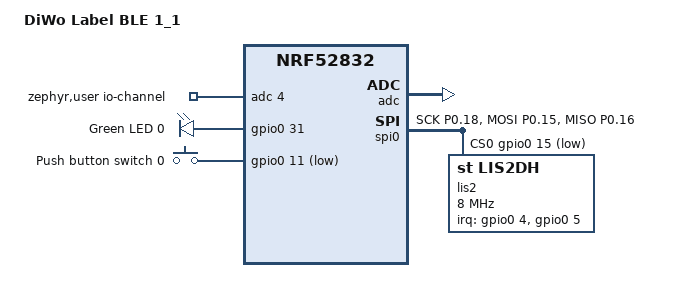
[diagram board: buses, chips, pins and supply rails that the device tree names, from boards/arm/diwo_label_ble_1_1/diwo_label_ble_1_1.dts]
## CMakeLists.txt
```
# SPDX-License-Identifier: Apache-2.0

cmake_minimum_required(VERSION 3.20.0)
find_package(Zephyr REQUIRED HINTS $ENV{ZEPHYR_BASE})
project(periodic_adv)

target_sources(app PRIVATE src/main.c src/button.c src/button.h src/led.c src/led.h src/diwo_label.h src/bsp.c src/bsp.h src/battery.c src/battery.h src/wdt.h src/wdt.c src/main.h src/nfc.c src/nfc.h src/acc_lis2_de.c src/power.c src/setting.c)
zephyr_include_directories("B:\\Projects\\nRF52\\v2.3.0\\zephyr\\drivers\\sensor\\lis2dh")
zephyr_compile_definitions()
set_source_files_properties(src/peripheral.c src/service.c PROPERTIES HEADER_FILE_ONLY TRUE)
```

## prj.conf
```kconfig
CONFIG_BT=y
CONFIG_BT_EXT_ADV=y
CONFIG_BT_PER_ADV=y
#CONFIG_BT_DEBUG_LOG=y
CONFIG_BT_DEVICE_NAME="DiWo Label"

CONFIG_BT_DIS=y
CONFIG_BT_DIS_MANUF="DiWo"
CONFIG_BT_DIS_SETTINGS=y
CONFIG_BT_DIS_MODEL="DiWo NFC LABEL"
CONFIG_BT_DIS_HW_REV=y
CONFIG_BT_DIS_HW_REV_STR="DiWo NFC Label 0.1"
CONFIG_BT_GATT_POOL=y
CONFIG_BT_GATT_UUID128_POOL_SIZE=8

CONFIG_BT_PERIPHERAL=y
CONFIG_BT_SMP=y
CONFIG_BT_GATT_CLIENT=y
CONFIG_BT_GATT_DM=y
CONFIG_BT_GATT_DYNAMIC_DB=y

CONFIG_BT_PRIVACY=n

#CONFIG_KERNEL_BIN_NAME="diwo_label_nfc_1_0"

CONFIG_NO_OPTIMIZATIONS=y

CONFIG_PINCTRL=y
CONFIG_GPIO=y
CONFIG_NRFX_GPIOTE=y
CONFIG_NRFX_PPI=y
CONFIG_GPIO_NRFX=y

CONFIG_SENSOR=y
CONFIG_SPI=y
# CONFIG_LIS2DW12 is not set
# CONFIG_LIS2DW12_THRESHOLD=y
# CONFIG_LIS2DW12_TRIGGER_GLOBAL_THREAD=y
# CONFIG_LIS2DH_TRIGGER_NONE is not set
CONFIG_LIS2DH_TRIGGER_GLOBAL_THREAD=y
# CONFIG_LIS2DW12_THRESHOLD=y

CONFIG_TEMP_NRF5=y
CONFIG_ADC=y

CONFIG_USE_SEGGER_RTT=y
CONFIG_CONSOLE=y
CONFIG_RTT_CONSOLE=y
CONFIG_LOG=y
CONFIG_LOG_MAX_LEVEL=4

CONFIG_BOOT_BANNER=n

#COFIG_WDT_LOG_LEVEL_DBG=n
CONFIG_WATCHDOG=y
CONFIG_WDT_DISABLE_AT_BOOT=n

CONFIG_NFC_T2T_NRFXLIB=y

CONFIG_NFC_NDEF=y
CONFIG_NFC_NDEF_MSG=y
CONFIG_NFC_NDEF_RECORD=y
CONFIG_NFC_NDEF_TEXT_RECORD=y

#CONFIG_PM=y
#CONFIG_PM_DEVICE=y
#CONFIG_APP_RETENTION=y
#CONFIG_CRC=y
#CONFIG_POWEROFF=y

CONFIG_PM=y
# Required to disable default behavior of deep sleep on timeout
#CONFIG_PM_DEVICE=y
# Optional select RAM retention (nRF52 only)
#CONFIG_APP_RETENTION=y
CONFIG_CRC=y

CONFIG_BT_CTLR_TX_PWR_DYNAMIC_CONTROL=y
```

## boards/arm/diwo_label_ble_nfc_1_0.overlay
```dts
/* SPDX-License-Identifier: LicenseRef-Nordic-5-Clause */

/ {
	model = "DiWo Label BLE NFC 1_0";
	compatible = "diwo,diwo-label-ble-1-1";

	leds {
		compatible = "gpio-leds";
		led0: led_0 {
			gpios = <&gpio0 31 GPIO_ACTIVE_HIGH>;
			label = "Green LED 0";
		};
	};

	buttons {
		compatible = "gpio-keys";
		button0: button_0 {
			gpios = <&gpio0 11 (GPIO_PULL_UP | GPIO_ACTIVE_LOW)>;
			label = "Push button switch 0";
		};
	};

};

&pinctrl {
	uart0_default: uart0_default {
		group1 {
			psels = <NRF_PSEL( UART_TX, 0, 20 )>,
					<NRF_PSEL( UART_RX, 0, 19 )>;
		};
	};

	uart0_sleep: uart0_sleep {
		group1 {
			psels = <NRF_PSEL( UART_TX, 0, 20 )>,
					<NRF_PSEL( UART_RX, 0, 19 )>;
			low-power-enable;
		};
	};

	spi0_default: spi0_default {
		group1 {
			psels = <NRF_PSEL(SPIM_SCK, 0, 18)>,
					<NRF_PSEL(SPIM_MOSI, 0, 15)>,
					<NRF_PSEL(SPIM_MISO, 0, 16)>;
		};
	};

	spi0_sleep: spi0_sleep {
		group1 {
			psels = <NRF_PSEL(SPIM_SCK, 0, 18)>,
					<NRF_PSEL(SPIM_MOSI, 0, 15)>,
					<NRF_PSEL(SPIM_MISO, 0, 16)>;
			low-power-enable;
		};
	};
};

/*
&uart0 {
	compatible = "nordic,nrf-uarte";

	pinctrl-0 = <&uart0_default>;
	pinctrl-1 = <&uart0_sleep>;
	pinctrl-names = "default", "sleep";
};
*/

&spi0 {
	compatible = "nordic,nrf-spi";
	status = "okay";
	pinctrl-0 = <&spi0_default>;
	pinctrl-1 = <&spi0_sleep>;
	pinctrl-names = "default", "sleep";
	cs-gpios = 	<&gpio0 26 GPIO_ACTIVE_LOW>;

	lis2@0 {
		compatible	= "st,lis2dh";
		reg			= <0x0>;
		status		= "okay";

		spi-max-frequency = <8000000>;
		irq-gpios = <&gpio0 27 0>,
					<&gpio0 28 0>;
	};
};

//&gpiote {
//	interrupts = <6 NRF_DEFAULT_IRQ_PRIORITY>;
//};
```

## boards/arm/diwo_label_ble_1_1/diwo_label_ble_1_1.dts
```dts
// Copyright (c) 2022 Nordic Semiconductor ASA
// SPDX-License-Identifier: Apache-2.0

/dts-v1/;
#include <nordic/nrf52832_qfaa.dtsi>

/ {
	model = "DiWo Label BLE 1_1";
	compatible = "diwo,diwo-label-ble-1-1";

	zephyr,user {
		io-channels = <&adc 4>;
	};

	chosen {
		zephyr,sram = &sram0;
		zephyr,flash = &flash0;
		zephyr,code-partition = &slot0_partition;
	};

	leds {
		compatible = "gpio-leds";
		led0: led_0 {
			gpios = <&gpio0 31 GPIO_ACTIVE_HIGH>;
			label = "Green LED 0";
		};
	};
	buttons {
		compatible = "gpio-keys";
		button0: button_0 {
			gpios = <&gpio0 11 (GPIO_PULL_UP | GPIO_ACTIVE_LOW)>;
			label = "Push button switch 0";
		};
	};
	aliases {
		led0 = &led0;
		bootloader-led0 = &led0;
		mcuboot-led0 = &led0;
		watchdog0 = &wdt0;
		sw0 = &button0;
	};	
};

&pinctrl {
	uart0_default: uart0_default {
		group1 {
			psels = <NRF_PSEL( UART_TX, 0, 20 )>,
					<NRF_PSEL( UART_RX, 0, 19 )>;
		};
	};

	uart0_sleep: uart0_sleep {
		group1 {
			psels = <NRF_PSEL( UART_TX, 0, 20 )>,
					<NRF_PSEL( UART_RX, 0, 19 )>;
			low-power-enable;
		};
	};

	spi0_default: spi0_default {
		group1 {
			psels = <NRF_PSEL(SPIM_SCK, 0, 18)>,
					<NRF_PSEL(SPIM_MOSI, 0, 15)>,
					<NRF_PSEL(SPIM_MISO, 0, 16)>;
		};
	};

	spi0_sleep: spi0_sleep {
		group1 {
			psels = <NRF_PSEL(SPIM_SCK, 0, 18)>,
					<NRF_PSEL(SPIM_MOSI, 0, 15)>,
					<NRF_PSEL(SPIM_MISO, 0, 16)>;
			low-power-enable;
		};
	};
};

&adc {
	status = "okay";
};

&gpiote {
	status = "okay";
};

&gpio0 {
	status = "okay";	
};

/*
&uart0 {
	compatible = "nordic,nrf-uarte";
	status = "okay";
	current-speed = <115200>;
	pinctrl-0 = <&uart0_default>;
	pinctrl-1 = <&uart0_sleep>;
	pinctrl-names = "default", "sleep";
};
*/

&spi0 {
	compatible = "nordic,nrf-spi";
	status = "okay";
	pinctrl-0 = <&spi0_default>;
	pinctrl-1 = <&spi0_sleep>;
	pinctrl-names = "default", "sleep";
	cs-gpios = 	<&gpio0 15 GPIO_ACTIVE_LOW>;
//				<&gpio0 20 GPIO_ACTIVE_LOW>;

	lis2@0 {
		compatible	= "st,lis2dh";
		reg			= <0x0>;
		status		= "okay";
//		range		= 16;
//		odr			= 12;
//		bw-filt		= 2;
//		low-noise	= false;

		spi-max-frequency = <8000000>;
		irq-gpios = <&gpio0 4 0>,
					<&gpio0 5 0>;
	};
};

&flash0 {
	partitions {
		compatible = "fixed-partitions";
		#address-cells = <1>;
		#size-cells = <1>;

		boot_partition: partition@0 {
			label = "mcuboot";
			reg = <0x0 0xc000>;
		};
		slot0_partition: partition@c000 {
			label = "image-0";
			reg = <0xc000 0x32000>;
		};
		slot1_partition: partition@3e000 {
			label = "image-1";
			reg = <0x3e000 0x32000>;
		};
		scratch_partition: partition@70000 {
			label = "image-scratch";
			reg = <0x70000 0xa000>;
		};
		storage_partition: partition@7a000 {
			label = "storage";
			reg = <0x7a000 0x6000>;
		};
	};
};
```

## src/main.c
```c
/*
 * Copyright (c) 2020 Nordic Semiconductor ASA
 *
 * SPDX-License-Identifier: Apache-2.0
 */

#include <zephyr/bluetooth/bluetooth.h>
#include <zephyr/drivers/watchdog.h>
#include <zephyr/logging/log.h>
#include <zephyr/logging/log_ctrl.h>
#include <zephyr/bluetooth/hci.h>

#include <zephyr/pm/pm.h>
#include <zephyr/pm/device.h>
#include <zephyr/pm/policy.h>

#define LOG_LEVEL_MAIN LOG_LEVEL_DBG

LOG_MODULE_REGISTER( main, LOG_LEVEL_MAIN );

#define __BOARD_NAME__          "DiWo Label BLE 1.0"

#include "button.h"
#include "led.h"
#include "diwo_label.h"
#include "bsp.h"
#include "wdt.h"
#include "setting.h"
#include "nfc.h"
#include "acc.h"
#include "power.h"

#include "main.h"
#include "setting.h"

#include <nrfx.h>
#include <hal/nrf_gpio.h>
#include <hal/nrf_power.h>
#if !NRF_POWER_HAS_RESETREAS
#include <hal/nrf_reset.h>
#endif

#ifndef FW_MAJOR
#define FW_MAJOR    1
#endif

#ifndef FW_MINOR
#define FW_MINOR    0
#endif

#ifndef FW_PATCH
#define FW_PATCH    2
#endif

#define FW_VER      FW_PATCH + FW_MINOR * 100 + FW_MAJOR * 10000

#ifndef HW_MAJOR
#define HW_MAJOR    0
#endif

#ifndef HW_MINOR
#define HW_MINOR    3
#endif

#define HW_VER      HW_MINOR + HW_MAJOR * 100

#define RTT_CTRL_CLEAR                "[2J"

#define RTT_CTRL_TEXT_BLACK           "[2;30m"
#define RTT_CTRL_TEXT_RED             "[2;31m"
#define RTT_CTRL_TEXT_GREEN           "[2;32m"
#define RTT_CTRL_TEXT_YELLOW          "[2;33m"
#define RTT_CTRL_TEXT_BLUE            "[2;34m"
#define RTT_CTRL_TEXT_MAGENTA         "[2;35m"
#define RTT_CTRL_TEXT_CYAN            "[2;36m"
#define RTT_CTRL_TEXT_WHITE           "[2;37m"

//#define ACC_FREFALL_DURATION              2                   // Длительность события free-fall ( 0 - 63 )
//#define ACC_FREEFALL_THRESHOLD            7   //ff_thrs_7           // Порог события free-fall ( 0 - 7 )
#define MAX_SHOCK_TIME                    255                 // Максимальное время удержания события удара ( сек )
#define MAX_FALL_TIME                     255                 // Максимальное время удержания события падения ( сек )

#define BATT_READ_DELAY                   10                  // Делитель опроса батареии

#define BT_LE_ADV_NCONN_IDENTITY_1 BT_LE_ADV_PARAM(BT_LE_ADV_OPT_USE_IDENTITY, \
						 BT_GAP_ADV_SLOW_INT_MIN*5, \
						 BT_GAP_ADV_SLOW_INT_MIN*5, \
						 NULL) 

#if ( __ENABLE_SELF_TEST_MESS__ == 1 )
#define SELF_TEST_MESS( MODULE, STATUS )        LOG_PRINTK( "SELFTEST: %-16s - %s\r", MODULE, STATUS );
#else
#define SELF_TEST_MESS( MODULE, STATUS )
#endif

const char* BOARD_NAME = __BOARD_NAME__;

typedef enum {
  lmInit,
  lmSleep,
  lmBeacon,
  lmDevice
} label_mode_e;

typedef struct {
  int last_shock;
  int last_fall;  
  bt_addr_le_t addr;
} app_var_s;

app_settings_s app_settings = {
  .adv_period_min = ADV_PERIOD_MIN,
  .adv_period_max = ADV_PERIOD_MAX,
  .adv_period = DEFAULT_ADV_PERIOD_S,
  .power_min = txp4p,
  .power_max = txp40m,
  .power = txp0,
  .hit_threshold = ACC_SHOCK_THRESHOLD,
  .fall_threshold = ACC_FREEFALL_THRESHOLD,
  .pass = APP_PASSWORD,
  .open = false,
  .acc_status = false,
};

app_var_s app_vars = { 0 };

label_mode_e label_mode = lmInit;

adv_data_s adv_data = { 
  .man_id = DIWO_ID,
  .x = 0,
  .y = 0,
  .z = 0,
  .bat = 0,
  .temp = 0,
  .shock_value = 0,
  .shock = 0,
  .fall = 0,
  .counter = 0,
  .reserv = { 0 },
};

struct bt_le_ext_adv *adv = NULL;


#if (__ENABLE_BLE__ == 1)
static const struct bt_data ad[] = {
  BT_DATA_BYTES( BT_DATA_FLAGS, BT_LE_AD_NO_BREDR ),
  BT_DATA( BT_DATA_MANUFACTURER_DATA, &adv_data, sizeof( adv_data ) ),
};
#endif

static struct k_work_delayable key_on_timer;

static void key_on_timer_fn(struct k_work *work) {
  send_event(evButtonOnEnd);
  LOG_DBG("Key on delay end\n");
}

K_MSGQ_DEFINE( qevent, sizeof( uint8_t ), 3, 1 );
struct k_timer adv_timer; //Таймер

void print_device_info( void );
int goto_deep_sleep(void);

/** \brief send event to main loop 
*   \param event
*   \return status    - 0 - OK, < 0 - error
*/
int send_event(events_e event) {
  return k_msgq_put(&qevent, &event, K_NO_WAIT);  
}

/** Callback по срабатыванию таймера
 */
void adv_timer_exp( struct k_timer *timer_id ) {
  uint8_t event = evTimer;
  k_msgq_put( &qevent, &event, K_NO_WAIT );
}
 
void main( void ) {
  int err = 0;
  int key_counter = 0;
  int time = sys_clock_cycle_get_32();  
  
#if ( __SEGGER_FORMAT == 1 )
  LOG_PRINTK( RTT_CTRL_CLEAR );
  LOG_PRINTK( RTT_CTRL_TEXT_WHITE );
#endif

#if (__ENABLE_NFC__ ==1 )
  SELF_TEST_MESS( "FIRMWARE", "Diwo Label with NFC; built on " __DATE__ " at " __TIME__ " for " CONFIG_BT_DIS_HW_REV_STR);
#else
  SELF_TEST_MESS("FIRMWARE", "Diwo Label; built on " __DATE__ " at " __TIME__ " for " CONFIG_BT_DIS_HW_REV_STR);
#endif
  //  SELF_TEST_MESS( "MCU", "DevAddr %08X %08X", NRF_FICR->DEVICEADDR[1], NRF_FICR->DEVICEADDR[0]);
  SELF_TEST_MESS( "INIT START", "OK" );

  init_board();

#if (__ENABLE_BUTTON__ == 1)
  if (true != init_button()) {
    SELF_TEST_MESS("BUTTON", "ERORR");
  }
  else {
    SELF_TEST_MESS("BUTTON", "OK");
  }
#else
  SELF_TEST_MESS("BUTTON", "DISABLE");
#endif

#if (__ENABLE_LED__ == 1 )  
  if (true != init_led()) {
    SELF_TEST_MESS( "LED", "ERORR" );
  }

  led_blinck( 100 );
#else
  SELF_TEST_MESS("LED", "DISABLE");
#endif

#if ( __ENABLE_ACC__ == 1 )  
  if (true != init_acc()) {
    SELF_TEST_MESS("ACC", "ERROR");
    app_settings.acc_status = false;
  }
  else {
    SELF_TEST_MESS("ACC", "OK");
  }
#else
  SELF_TEST_MESS("ACC", "DISABLE");
#endif

#if (__ENABLE_BLE__ == 1 )  
  if ( 0 != bt_enable( NULL )) {
      SELF_TEST_MESS( "BLE", "ERROR" );
  }
  else {
    SELF_TEST_MESS( "BLE", "OK" );
  }
#else
  SELF_TEST_MESS( "BLE", "DISABLE" );  
#endif
  
#if ( __ENABLE_NFC__ == 1 ) 
  if (0 != init_nfc()) {
    SELF_TEST_MESS( "NFC", "ERROR" );
  }
  else {
    SELF_TEST_MESS( "NFC", "OK" );
  }
#else
  SELF_TEST_MESS( "NFC", "DISABLE" );
#endif

#if (__ENABLE_WDT__ == 1)
  if (true != init_wdt(10000)) {
    SELF_TEST_MESS("WDT", "ERROR");
  }
  SELF_TEST_MESS("WDT", "OK");
#else
  SELF_TEST_MESS("WDT", "DISABLE");
#endif
  
  SELF_TEST_MESS( "APP START", "OK" );

#if (__ENABLE_BLE__ == 1)
  print_device_info();
#endif
  
#if (__ENABLE_DEEP_SLEEP__ != 0)  
  uint32_t reas = get_reset_reason();
  if( reas & NRF_POWER_RESETREAS_OFF_MASK) {
    LOG_DBG("System resume\n");
    while (1) {
      uint8_t event = 0;
      if (0 == k_msgq_get(&qevent, &event, K_SECONDS(2))) {
        if (event == evButton) {
          if (1 == get_button_level()) {
            int event_time = sys_clock_tick_get_32();
            int dtime = event_time - time;
            time = event_time;
            LOG_DBG("Key delay - %d\n", dtime);
            if ((dtime < KEY_EVENT_MIN) || (dtime > KEY_EVENT_MAX)) {
              LOG_DBG("Key delay too short\n");
              goto_deep_sleep();
            }
            if (key_counter++ >= 3) {
              LOG_DBG("Key pass enter\n");
#if (__ENABLE_LED__ == 1)
              led_blinck(300);
#endif
              break;
            }
          }
        }
      }
      else {
        LOG_DBG("Key delay too long\n");
        goto_deep_sleep();
        }
    }
  }
  else if (reas & NRF_POWER_RESETREAS_DOG_MASK) {
    LOG_DBG("Reset watchdog source\n");
  }
#if (__ENABLE_NFC__ == 1)  
  else if (reas & NRF_POWER_RESETREAS_NFC_MASK) {
    LOG_DBG("Resume by NFC\n");
  }
#endif
  else {
    if (IS_ENABLED(CONFIG_APP_RETENTION)) {
      LOG_ERR("CONFIG_APP_RETENTION\n");
    }
    goto_deep_sleep();
  } 
#endif
  
  k_timer_init(&adv_timer, adv_timer_exp, NULL);
  k_timer_start( &adv_timer, K_SECONDS( app_settings.adv_period ), K_SECONDS( app_settings.adv_period ) );

  k_work_init_delayable(&key_on_timer, key_on_timer_fn);
  label_mode = lmBeacon;
  key_counter = 0;
  
  while (1) {
    uint8_t event = 0;
    if (0 == k_msgq_get( &qevent, &event, K_FOREVER )) {
      switch (event) {
        case evTimer : {
          static int batt_counter = 0;
#if (__ENABLE_BLE__ == 1)          
          err = bt_le_adv_stop();

          if (err) {
            LOG_ADV_DBG( "Advertising stop FAULT(err %d)\n", err );
          } 
          else {
            LOG_ADV_DBG( "Advertising stop OK\n" );
          }       
#endif
          
#if (__ENABLE_LED__ == 1 )        
          led_blinck( 1 );
#endif 
          
#if ( __ENABLE_WDT__ == 1 )          
          reset_wdt();
#endif
        
          adv_data.temp = get_temp();
          
          if ( 0 == batt_counter-- ) {
            adv_data.bat = get_batt( adv_data.temp );
            batt_counter = BATT_READ_DELAY;
          }
#if ( __ENABLE_ACC__ == 1 )
          if (app_settings.acc_status == true) {
            read_adv_acc_data(&adv_data);
          }
#else
          adv_data.x = adv_data.y = adv_data.z = 0;
#endif
          if (0 != app_vars.last_shock) {
            app_vars.last_shock += app_settings.adv_period;
            if (app_vars.last_shock > MAX_SHOCK_TIME) {
              app_vars.last_shock = 0;
              adv_data.shock_value = 0;
            }
            adv_data.shock = app_vars.last_shock;
          }
          
          if (0 != app_vars.last_fall) {
            app_vars.last_fall += app_settings.adv_period;
            if (app_vars.last_fall > MAX_FALL_TIME) {
              app_vars.last_fall = 0;
            }
            adv_data.fall = app_vars.last_fall;
          }
          
          adv_data.counter++;
#if (__ENABLE_BLE__ != 0)
          if (0 != (err = bt_le_adv_start(BT_LE_ADV_NCONN_IDENTITY_1, ad, ARRAY_SIZE(ad), NULL, 0))) {
            LOG_ADV_DBG("Advertising start FAULT(err %d)\n", err);
          }
          else {
            LOG_ADV_DBG("Advertising start OK\n");
          }

          LOG_ADV_DBG( "\rSend advertisment.\r" );
          LOG_ADV_DBG( "x - %02d  y - %02d  z - %02d\r", adv_data.x, adv_data.y, adv_data.z );
          LOG_ADV_DBG( "shock - %d value - %d\r", adv_data.shock, adv_data.shock_value );
          LOG_ADV_DBG( "fall - %d\r", adv_data.fall );
          LOG_ADV_DBG( "temp - %d  batt - %d\rpacket counter - %d\r", adv_data.temp, adv_data.bat, adv_data.counter );
#endif          
          break;          
        }
        case evIrqHi: {
          // Обработчик события по превышению
          /* shock_value (uint8) - величина удара, вычисленная по формуле (x * x + y * y + z * z) / (255 * 3), 
 * вычисляется при срабатывании прерывания. При  ненулевом значении таймера shock (предыдущий удар был менее 255 секунд назад) 
 * shock_value = max( (x * x + y * y + z * z) / (255 * 3), previous_shock_value)). 
 * При обнулении таймера shock значение shock_value также обнуляется.        
*/

#define SHOCK_MUL 8

          app_vars.last_shock = 1;
          int temp[3] = {0};
          int result = 0;
          int8_t val8 = 0;

          struct sensor_value val[3] = {0};
#if (__ENABLE_ACC__ == 1)
          if (app_settings.acc_status == true) {
            read_sensor_value(val);
          }
#endif
          temp[0] = sensor_value_to_double( &val[0] ) * SHOCK_MUL;
          temp[0] *= temp[0];
          
          temp[1] = sensor_value_to_double( &val[1] ) * SHOCK_MUL;
          temp[1] *= temp[1];
          
          temp[2] = sensor_value_to_double( &val[2] ) * SHOCK_MUL;
          temp[2] *= temp[2];

          result = ( temp[0] + temp[1] + temp[2] ) / (3 * SHOCK_MUL * SHOCK_MUL );
          
          val8 = result;
          if (result > 255) {
            val8 = 255;
          }

          if (adv_data.shock_value < val8) {
            adv_data.shock_value = val8;
          }
#if (__ENABLE_ACC__ == 1)
          LOG_DBG( "Threshold IRQ.\r" );
          LOG_DBG( "x - %d, y - %d, z - %d\r", temp[0], temp[1], temp[2] );
          LOG_DBG( "value - %d\r", result );
          LOG_DBG( "val - %d\r\n", val8 );  
#endif          
          break;
        }
        case evIrqLo : {
          app_vars.last_fall = 1;
          LOG_DBG( "FreeFall IRQ.\r" );               
          break;
        }
        case evButton: {
          switch (label_mode ) {
            case lmBeacon: {
              int result;
              static int counter = 0;
              int value = get_button_level();
              if (value == 1) {
                k_work_reschedule(&key_on_timer, K_TICKS( KEY_EVENT_MAX));
                int event_time = sys_clock_tick_get_32();
                int dtime = event_time - time;
                time = event_time;
                LOG_DBG("Key delay - %d\n", dtime);
                if (key_counter++) {
                  if ((dtime < KEY_EVENT_MIN) || (dtime > KEY_EVENT_MAX)) {
                    LOG_DBG("Key delay too short\n");
                    key_counter = 0;
                    break;
                  }                  
                  if (key_counter >= 3) {
                    
                    k_timer_stop(&adv_timer);
                    err = bt_le_adv_stop();
                    LOG_DBG("Key pass enter\n");
#if (__ENABLE_LED__ == 1)
                    led_blinck(300);
#endif                    
                    if (0 <= (result = run_device())) {
                      
                    }
                    app_settings.open = false;
                    k_timer_start(&adv_timer, K_SECONDS(app_settings.adv_period), K_SECONDS(app_settings.adv_period));                    
                  }
                }
              }
              else {
                LOG_DBG("Key release - %d\r", counter++);
              } 
              break;
            }
            case lmDevice: {
              label_mode = lmBeacon;
              break;
            }              
          }
          break;
        }
        case evButtonOnEnd: {
          if (key_counter != 0) {
            LOG_DBG("Key delay too long\n");
            key_counter = 0;
          }
          break;
        }
        case evCmdPowerOff: {
          break;
        }
      }
    }
  }
}

__weak int run_device(void) {
  return 0;
}

__weak bool init_button( void ) {
  return true;
}

void print_device_info( void ) {
  int count = 1;
  bt_id_get( &app_vars.addr, &count );

  LOG_PRINTK( "\n" );

#if ( __SEGGER_FORMAT == 1 )
  LOG_PRINTK( RTT_CTRL_TEXT_CYAN ); 
#endif  
  
  LOG_PRINTK( "%-26s - %02x:%02x:%02x:%02x:%02x:%02x\r",
    "MAC ADDR",
    app_vars.addr.a.val[0], 
    app_vars.addr.a.val[1], 
    app_vars.addr.a.val[2], 
    app_vars.addr.a.val[3], 
    app_vars.addr.a.val[4], 
    app_vars.addr.a.val[5] );
  
  LOG_PRINTK( "%-26s - %02x%02x%02x%02x%02x%02x\r",
    "MAC ADDR REVERSE",    
    app_vars.addr.a.val[5], 
    app_vars.addr.a.val[4], 
    app_vars.addr.a.val[3], 
    app_vars.addr.a.val[2], 
    app_vars.addr.a.val[1], 
    app_vars.addr.a.val[0] ); 
  
#if ( __SEGGER_FORMAT == 1 )
  LOG_PRINTK( RTT_CTRL_TEXT_WHITE ); 
#endif

  LOG_PRINTK( "\n" );
}

int goto_deep_sleep(void) {
#if (__ENABLE_DEEP_SLEEP__ != 0)
  nrf_gpio_cfg_input(NRF_DT_GPIOS_TO_PSEL(DT_ALIAS(sw0), gpios), NRF_GPIO_PIN_PULLUP);
  nrf_gpio_cfg_sense_set(NRF_DT_GPIOS_TO_PSEL(DT_ALIAS(sw0), gpios), NRF_GPIO_PIN_SENSE_LOW);

  LOG_DBG("System off\n");
  while (log_data_pending()) {
    k_sleep(K_MSEC(100));
  }
  pm_policy_state_lock_get(PM_STATE_SOFT_OFF, PM_ALL_SUBSTATES);
  pm_state_force(0u, &(struct pm_state_info){PM_STATE_SOFT_OFF, 0, 0});
  k_sleep(K_MSEC(1));
  return 0;
#else
  SELF_TEST_MESS("DEEP SLEEP", "DISABLE");
  return -1;
#endif
}

/** \mainpage
* По включению устройство проходит начальное тестирование и уходит в глубокий сон.<br>
* При нажатию кнопки устройство выходит из сна и переходит в режим ожидания.<br>
* Следующие 4-ре нажатия произведённые с периодом от 0.5 до 1.5 секунды переводят устройство в режим маяка ( трансляция рекламмных пакетов )
* Из этого режима путём 3-кратного нажатия кнопки с таким-же периодом можно попасть в режим настройки для изменения параметров.<br>
* На подключение к устройству действует таймаут 10 сек.<br>
* Таймаут операции - 120 сек - рабочий режим / 1200 сек - отладка.<br>
* Запись в 5-й по счёту пункт пароля ( 01 02 03 04 05 06 07 08 - отладочный, рабочий - отдельно ) разрешает управлять устройством.<br>
* При подключении у устройству становиться возможной редактирование настроек.<br>
* Запись команды 95 в 6-й пункт приводит к сбросу устройства и переходу в режим сна.<br>
* Пункты настроек - <br>
* - 1. Выходная мощность трансивера
*   - 0 +4 дБм
*   - 1 +3 дБм
*   - 2  0 дБм
*   - 3 -4 дБм
*   - 4 -8 дБм 
*   - 5 -12 дБм
*   - 6 -16 дБм
*   - 7 -20 дБм
*   - 8 -40 дБм
* - 2. Период передачи рекламного пакета ( 1 - 5 секунд )
* - 3. Уровень реакции акселерометра на удар
* - 4. Уровень реакции акселерометра на падение
* - 5. Ввод пароля на доступ к редактированию настроек( отладочный - 01 02 03 04 05 06 07 08 )
* - 6. Команды устройства
*   - 95 ( 0x95 ) Уход в сон
*/
```

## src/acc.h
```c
#pragma once

#include <stdint.h>

#include "main.h"

#include <zephyr/drivers/sensor.h>

typedef struct {
  uint32_t odr;
} acc_setting_t;

typedef struct {
  int x;
  int y;
  int z;
} acc_value_xyz_s;

int init_acc(void);

int read_adv_acc_data(adv_data_s *pdata);

int read_sensor_value(struct sensor_value *val);

int acc_set_shock_limit(int limit);

int acc_set_freefall_limit(int limit);
```

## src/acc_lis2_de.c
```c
/** \file   acc_lis2_dh.c
*   \author Alex
*   \date   26.09.2023
*   
* Ðåàëèçàöèÿ ðàáîòû ñ àêñåëåðîìåòðîì lis2dh12
*/

#include "acc.h"

#include "lis2dh.h"

static const struct device *acc_lis2 = NULL;

struct lis2dh_data *lis2dh;

/** Ïðåðûâàíèå ïî ïðåâûøåíèþ óðîâíÿ 
*/
void lis12dh_trigger_handler(const struct device *dev, const struct sensor_trigger *trig) {
  if (trig->type == SENSOR_TRIG_THRESHOLD) {
    uint8_t event = evIrqHi;
    send_event( event );
  }
  else if (trig->type == SENSOR_TRIG_FREEFALL) {
    uint8_t event = evIrqLo;
    send_event( event );
  }
  else if (trig->type == SENSOR_TRIG_DELTA) {
    uint8_t event = evIrqHi;
    send_event( event );
  }
}

void lis12dh_trigger_freefall_handler(const struct device *dev, const struct sensor_trigger *trig) {
  uint8_t event = evIrqLo;
  send_event( event );
}

int init_acc( void ) {
  int err;
  
  acc_lis2 = DEVICE_DT_GET_ANY(st_lis2dh);
  if (acc_lis2 == NULL) {
    return -1;
  }

  uint8_t reg_val = 0;
  struct lis2dh_data *lis2dh = acc_lis2->data;

  err = lis2dh->hw_tf->read_reg(acc_lis2, LIS2DH_REG_WAI, &reg_val);
  if (err != 0) {
    return -1;
  }

  if (reg_val != LIS2DH_CHIP_ID) {
    return -1;
  }

  struct sensor_value sval = {0};

  sval.val1 = ODR_VALUE;
  sval.val2 = 0;
  sensor_attr_set(acc_lis2, SENSOR_CHAN_ACCEL_XYZ, SENSOR_ATTR_SAMPLING_FREQUENCY, &sval);

  /* Óñòàíîâêà øêàëû */
  sval.val1 = ACC_FULL_SCALE;
  sval.val2 = 0;
  err = sensor_attr_set(acc_lis2, SENSOR_CHAN_ACCEL_XYZ, SENSOR_ATTR_FULL_SCALE, &sval);
  if (err != 0 ) {
  }  
  
  return 0;
}

int read_adv_acc_data(adv_data_s *pdata) {
  int res = 0;
  res += lis2dh->hw_tf->read_reg(acc_lis2, 0x29, &pdata->x);
  res += lis2dh->hw_tf->read_reg(acc_lis2, 0x2b, &pdata->y);
  res += lis2dh->hw_tf->read_reg(acc_lis2, 0x2d, &pdata->z);
  return res;
}

int read_sensor_value( struct sensor_value* val ) {
  int res = 0;
  res += sensor_sample_fetch(acc_lis2);
  res += sensor_channel_get(acc_lis2, SENSOR_CHAN_ACCEL_XYZ, val);
  return res;
}

int acc_set_shock_limit(int limit) {
  struct sensor_value sval = {0};
  sval.val1 = limit;
  sval.val2 = 0;
  sensor_attr_set(acc_lis2, SENSOR_CHAN_ACCEL_XYZ, SENSOR_ATTR_UPPER_THRESH, &sval);
  return 0;
}

int acc_set_freefall_limit(int limit) {
  struct sensor_value sval = {0};
  sval.val1 = limit;
  sval.val2 = 0;
  sensor_attr_set(acc_lis2, SENSOR_CHAN_ACCEL_XYZ, SENSOR_ATTR_UPPER_THRESH, &sval);  
  return 0;
}
```

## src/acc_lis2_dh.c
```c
/** \file   acc_lis2_dh.c
*   \author Alex
*   \date   26.09.2023
*   
* Ðåàëèçàöèÿ ðàáîòû ñ àêñåëåðîìåòðîì lis2dh12
*/

#include "acc.h"

#include "lis2dh.h"

static const struct device *acc_lis2 = NULL;

struct lis2dh_data *lis2dh;

/** Ïðåðûâàíèå ïî ïðåâûøåíèþ óðîâíÿ 
*/
void lis12dh_trigger_handler(const struct device *dev, const struct sensor_trigger *trig) {
  if (trig->type == SENSOR_TRIG_THRESHOLD) {
    uint8_t event = evIrqHi;
    send_event( event );
  }
  else if (trig->type == SENSOR_TRIG_FREEFALL) {
    uint8_t event = evIrqLo;
    send_event( event );
  }
  else if (trig->type == SENSOR_TRIG_DELTA) {
    uint8_t event = evIrqHi;
    send_event( event );
  }
}

void lis12dh_trigger_freefall_handler(const struct device *dev, const struct sensor_trigger *trig) {
  uint8_t event = evIrqLo;
  send_event( event );
}

int init_acc( void ) {
  int err;
  
  acc_lis2 = DEVICE_DT_GET_ANY(st_lis2dh);
  if (acc_lis2 == NULL) {
    return -1;
  }

  uint8_t reg_val = 0;
  struct lis2dh_data *lis2dh = acc_lis2->data;

  err = lis2dh->hw_tf->read_reg(acc_lis2, LIS2DH_REG_WAI, &reg_val);
  if (err != 0) {
    return -1;
  }

  if (reg_val != LIS2DH_CHIP_ID) {
    return -1;
  }

  struct sensor_value sval = {0};

  sval.val1 = ODR_VALUE;
  sval.val2 = 0;
  sensor_attr_set(acc_lis2, SENSOR_CHAN_ACCEL_XYZ, SENSOR_ATTR_SAMPLING_FREQUENCY, &sval);

  /* Óñòàíîâêà øêàëû */
  sval.val1 = ACC_FULL_SCALE;
  sval.val2 = 0;
  err = sensor_attr_set(acc_lis2, SENSOR_CHAN_ACCEL_XYZ, SENSOR_ATTR_FULL_SCALE, &sval);
  if (err != 0 ) {
  }  
  
  return 0;
}

int read_adv_acc_data(adv_data_s *pdata) {
  int res = 0;
  res += lis2dh->hw_tf->read_reg(acc_lis2, 0x29, &pdata->x);
  res += lis2dh->hw_tf->read_reg(acc_lis2, 0x2b, &pdata->y);
  res += lis2dh->hw_tf->read_reg(acc_lis2, 0x2d, &pdata->z);
  return res;
}

int read_sensor_value( struct sensor_value* val ) {
  int res = 0;
  res += sensor_sample_fetch(acc_lis2);
  res += sensor_channel_get(acc_lis2, SENSOR_CHAN_ACCEL_XYZ, val);
  return res;
}

int acc_set_freefall_limit(int limit) {
  return 0;
}

int acc_set_shock_limit(int limit) {
  //  return sensor_attr_set(acc_lis2, SENSOR_CHAN_ACCEL_XYZ, SENSOR_ATTR_UPPER_THRESH, &sensor_value);
  //  return sensor_trigger_set(acc_lis2, , lis12dh_trigger_handler);
  return 0;
}
```

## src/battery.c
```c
/*
 * Copyright (c) 2018-2019 Peter Bigot Consulting, LLC
 * Copyright (c) 2019-2020 Nordic Semiconductor ASA
 *
 * SPDX-License-Identifier: Apache-2.0
 */

#include <math.h>
#include <stdio.h>
#include <stdlib.h>

#include <zephyr/zephyr.h>
#include <zephyr/init.h>
#include <zephyr/drivers/gpio.h>
#include <zephyr/drivers/adc.h>
#include <zephyr/drivers/sensor.h>
#include <zephyr/logging/log.h>

#include "battery.h"

LOG_MODULE_REGISTER(BATTERY, LOG_LEVEL_INF );

#define VBATT DT_PATH(vbatt)
#define ZEPHYR_USER DT_PATH(zephyr_user)

#ifdef CONFIG_BOARD_THINGY52_NRF52832
/* This board uses a divider that reduces max voltage to
 * reference voltage (600 mV).
 */
#define BATTERY_ADC_GAIN ADC_GAIN_1
#else
/* Other boards may use dividers that only reduce battery voltage to
 * the maximum supported by the hardware (3.6 V)
 */
#define BATTERY_ADC_GAIN ADC_GAIN_1_6
#endif

struct io_channel_config {
  uint8_t channel;
};

struct divider_config {
  struct io_channel_config io_channel;
  struct gpio_dt_spec power_gpios;
  /* output_ohm is used as a flag value: if it is nonzero then
   * the battery is measured through a voltage divider;
   * otherwise it is assumed to be directly connected to Vdd.
   */
  uint32_t output_ohm;
  uint32_t full_ohm;
};

static const struct divider_config divider_config = {
#if DT_NODE_HAS_STATUS(VBATT, okay)
  .io_channel = {
  DT_IO_CHANNELS_INPUT( VBATT ),
},
  .power_gpios = GPIO_DT_SPEC_GET_OR( VBATT, power_gpios, { } ),
  .output_ohm = DT_PROP( VBATT, output_ohms ),
  .full_ohm = DT_PROP( VBATT, full_ohms ),
#else /* /vbatt exists */
  .io_channel = {
  DT_IO_CHANNELS_INPUT( ZEPHYR_USER ),
},
#endif /* /vbatt exists */
};

struct divider_data {
  const struct device *adc;
  struct adc_channel_cfg adc_cfg;
  struct adc_sequence adc_seq;
  int16_t raw;
};
static struct divider_data divider_data = {
#if DT_NODE_HAS_STATUS(VBATT, okay)
  .adc = DEVICE_DT_GET( DT_IO_CHANNELS_CTLR( VBATT ) ),
#else
  .adc = DEVICE_DT_GET( DT_IO_CHANNELS_CTLR( ZEPHYR_USER ) ),
#endif
};

static int divider_setup( void ) {
  const struct divider_config *cfg = &divider_config;
  const struct io_channel_config *iocp = &cfg->io_channel;
  const struct gpio_dt_spec *gcp = &cfg->power_gpios;
  struct divider_data *ddp = &divider_data;
  struct adc_sequence *asp = &ddp->adc_seq;
  struct adc_channel_cfg *accp = &ddp->adc_cfg;
  int rc;

  if (!device_is_ready( ddp->adc )) {
    LOG_ERR( "ADC device is not ready %s", ddp->adc->name );
    return -ENOENT;
  }

  if (gcp->port) {
    if (!device_is_ready( gcp->port )) {
      LOG_ERR( "%s: device not ready", gcp->port->name );
      return -ENOENT;
    }
    rc = gpio_pin_configure_dt( gcp, GPIO_OUTPUT_INACTIVE );
    if (rc != 0) {
      LOG_ERR("Failed to control feed %s.%u: %d",
        gcp->port->name,
        gcp->pin,
        rc  );
      return rc;
    }
  }

  *asp = (struct adc_sequence) {
    .channels = BIT( 0 ),
    .buffer = &ddp->raw,
    .buffer_size = sizeof( ddp->raw ),
    .oversampling = 4,
    .calibrate = true,
  };

#ifdef CONFIG_ADC_NRFX_SAADC
  *accp = (struct adc_channel_cfg) {
    .gain = BATTERY_ADC_GAIN,
    .reference = ADC_REF_INTERNAL,
    .acquisition_time = ADC_ACQ_TIME( ADC_ACQ_TIME_MICROSECONDS, 40 ),
  };

  if (cfg->output_ohm != 0) {
    accp->input_positive = SAADC_CH_PSELP_PSELP_AnalogInput0
    	+ iocp->channel;
  }
  else {
    accp->input_positive = SAADC_CH_PSELP_PSELP_VDD;
  }

  asp->resolution = 14;
#else /* CONFIG_ADC_var */
#error Unsupported ADC
#endif /* CONFIG_ADC_var */

  rc = adc_channel_setup( ddp->adc, accp );
  LOG_DBG( "Setup AIN%u got %d", iocp->channel, rc );

  return rc;
}

static bool battery_ok;

static int battery_setup( const struct device *arg ) {
  int rc = divider_setup();

  battery_ok = (rc == 0);
  LOG_DBG( "Battery setup: %d %d", rc, battery_ok );
  return rc;
}

SYS_INIT( battery_setup, APPLICATION, CONFIG_APPLICATION_INIT_PRIORITY );

int battery_measure_enable( bool enable ) {
  int rc = -ENOENT;

  if (battery_ok) {
    const struct gpio_dt_spec *gcp = &divider_config.power_gpios;

    rc = 0;
    if (gcp->port) {
      rc = gpio_pin_set_dt( gcp, enable );
    }
  }
  return rc;
}

int battery_sample( void ) {
  int rc = -ENOENT;

  if (battery_ok) {
    struct divider_data *ddp = &divider_data;
    const struct divider_config *dcp = &divider_config;
    struct adc_sequence *sp = &ddp->adc_seq;

    rc = adc_read( ddp->adc, sp );
    sp->calibrate = false;
    if (rc == 0) {
      int32_t val = ddp->raw;

      adc_raw_to_millivolts(adc_ref_internal( ddp->adc ), ddp->adc_cfg.gain, sp->resolution, &val  );

      if (dcp->output_ohm != 0) {
        rc = val * (uint64_t)dcp->full_ohm / dcp->output_ohm;
        LOG_DBG("raw %u ~ %u mV => %d mV\n", ddp->raw, val, rc  );
      }
      else {
        rc = val;
        LOG_DBG( "raw %u ~ %u mV\n", ddp->raw, val );
      }
    }
  }

  return rc;
}

unsigned int battery_level_pptt(unsigned int batt_mV,
  const struct battery_level_point *curve  ) {
  const struct battery_level_point *pb = curve;

  if (batt_mV >= pb->lvl_mV) {
    /* Measured voltage above highest point, cap at maximum. */
    return pb->lvl_pptt;
  }
  /* Go down to the last point at or below the measured voltage. */
  while ((pb->lvl_pptt > 0) && (batt_mV < pb->lvl_mV)) {
    ++pb;
  }
  if (batt_mV < pb->lvl_mV) {
    /* Below lowest point, cap at minimum */
    return pb->lvl_pptt;
  }

  /* Linear interpolation between below and above points. */
  const struct battery_level_point *pa = pb - 1;

  return pb->lvl_pptt + ((pa->lvl_pptt - pb->lvl_pptt) * (batt_mV - pb->lvl_mV) / (pa->lvl_mV - pb->lvl_mV));
}
```

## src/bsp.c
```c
/** \file   bsp.c
*   \author Alex
*   \date   17.11.2022
*   
* Описание функционала платы
*/

#include "bsp.h"

#include <zephyr/zephyr.h>
#include <zephyr/drivers/sensor.h>
#include <zephyr/drivers/gpio.h>
#include <zephyr/drivers/adc.h>

#include "battery.h"

/** A discharge curve specific to the power source. */
static const struct battery_level_point levels[] = {
  /* "Curve" here eyeballed from captured data for the [Adafruit
   * 3.7v 2000 mAh](https://www.adafruit.com/product/2011) LIPO
   * under full load that started with a charge of 3.96 V and
   * dropped about linearly to 3.58 V over 15 hours.  It then
   * dropped rapidly to 3.10 V over one hour, at which point it
   * stopped transmitting.
   *
   * Based on eyeball comparisons we'll say that 15/16 of life
   * goes between 3.95 and 3.55 V, and 1/16 goes between 3.55 V
   * and 3.1 V.
   */

  { 10000, 3000 },
  { 625, 2400 },
  { 0, 1800 },
};

static const struct device *temp_dev = DEVICE_DT_GET_ANY( nordic_nrf_temp );

void init_board ( void ) {
  if (temp_dev == NULL || !device_is_ready( temp_dev )) {
    printk( "no temperature device; using simulated data\n" );
    temp_dev = NULL;
  }
}

/** \fn get_temp Чтение температуры контроллера
* \return - температура в С или -127 в случае ошибки
*/
int8_t get_temp( void ) {
  int error = 0;
  struct sensor_value temp_value;
  
  if (temp_dev == NULL) return -127;
  
  error = sensor_sample_fetch( temp_dev );
  if (error) {
    return -127;
  }

  error = sensor_channel_get( temp_dev, SENSOR_CHAN_DIE_TEMP, &temp_value );
  if (error) {
    return -127;
  }
  return (int8_t)temp_value.val1;
}

/** \brief Чтение состояния батареи
*   \return - статус батареии в % ( 0% - 100% ), или -1 в случае ошибки
*/
int8_t get_batt( int temp ) {
  int err;
  
  err = battery_measure_enable( true );
  if (err != 0) {
    printk( "Failed initialize battery measurement: %d\n", err );
    return -1;
  }  
  
  int batt_mV = battery_sample();

  err = battery_measure_enable( false );  
  if (err != 0) {
    printk( "Failed initialize battery measurement: %d\n", err );
    return -1;
  }  
  
  if ( batt_mV < 0 ) {
    printk("Failed to read battery voltage: %d\n", batt_mV  );
    return -1;
  }
  
  unsigned int batt_pptt = battery_level_pptt( batt_mV, levels );
  
  return batt_pptt / 100;
}
```

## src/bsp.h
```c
/** \file   bsp.h
*   \author Alex
*   \date   17.11.2022
*   
* Описание функционала платы
*/

#pragma once

#include <stdint.h>

void init_board( void );

/** \brief Чтение температуры контроллера
*   \return - температура в С или -127 в случае ошибки
*/
int8_t get_temp( void );

/** \brief Чтение состояния батареи
*   \return - статус батареии в % ( 0% - 100% ), или -1 в случае ошибки
*/
int8_t get_batt( int temp );
```

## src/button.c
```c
#include "button.h"

#include <stdbool.h>

#include <zephyr/kernel.h>
#include <zephyr/device.h>
#include <zephyr/drivers/gpio.h>
#include <zephyr/sys/util.h>
#include <zephyr/logging/log.h>
#include <inttypes.h>

#include "main.h"

#define LOG_LEVEL_BUTTON LOG_LEVEL_ERR

#define DEBOUNCE_INTERVAL				10

LOG_MODULE_REGISTER(button, LOG_LEVEL_BUTTON);

/*
 * Get button configuration from the devicetree sw0 alias. This is mandatory.
 */
#define SW0_NODE	DT_ALIAS(sw0)

#if !DT_NODE_HAS_STATUS(SW0_NODE, okay)
#error "Unsupported board: sw0 devicetree alias is not defined"
#endif

static const struct gpio_dt_spec button = GPIO_DT_SPEC_GET_OR( SW0_NODE, gpios, { 0 });
static struct gpio_callback button_cb_data;

static struct k_work_delayable button_pressed;

//static int btn_event_count = 0;

static void button_cb(const struct device *port, struct gpio_callback *cb, gpio_port_pins_t pins) {
  k_work_reschedule(&button_pressed, K_MSEC(DEBOUNCE_INTERVAL));
}

static void button_pressed_fn(struct k_work *work) {
  send_event(evButton);
  LOG_DBG("Button pressed send event\n");
}

bool init_button( void ) {
	int ret;

	if (!device_is_ready( button.port )) {
		LOG_ERR("Error: button device %s is not ready\n", button.port->name);
		return false;
	}

	ret = gpio_pin_configure_dt(&button, GPIO_INPUT);
	if (ret != 0) {
    LOG_ERR("Error %d: failed to configure %s pin %d\n", ret, button.port->name, button.pin);
		return false;
	}

  ret = gpio_pin_interrupt_configure_dt(&button, GPIO_INT_EDGE_BOTH );
	if (ret != 0) {
    LOG_ERR( "Error %d: failed to configure interrupt on %s pin %d\n", ret, button.port->name, button.pin );
		return false;
	}

  k_work_init_delayable(&button_pressed, button_pressed_fn);
  gpio_init_callback(&button_cb_data, button_cb, BIT( button.pin ));
  
	ret = gpio_add_callback(button.port, &button_cb_data);
  if (ret != 0) {
    LOG_ERR("Error add button callback - %d\n", ret );
    return false;
  }

  LOG_DBG("Set up button at %s pin %d\n", button.port->name, button.pin);
	return true;
}

int get_button_level(void) {
  return gpio_pin_get_dt(&button);
}
```

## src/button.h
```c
#pragma once

#include <stdbool.h>
#include <zephyr/drivers/gpio.h>

bool init_button( void );

int get_button_level(void);
```

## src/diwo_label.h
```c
/** \file diwo_label.h
*   \author Alex
*   \date   14.11.2022
*   
* Êîíñòàíòû ñïåöåôè÷íûå äëÿ ìåòêè diwo
*/

#pragma once

#include <stdint.h>

#define DIWO_ID                     0x3456
#define DIWO_LABEL_ACC_DATA_SIZE    8      

#pragma pack(push, 1)

/** Îïèñàíèå ðåêëàìíîãî ïàêåòà */
typedef struct {
  uint16_t man_id;
  int8_t x;
  int8_t y;
  int8_t z;
  uint8_t bat;
  int8_t temp;
  uint8_t shock_value;
  uint8_t shock;
  uint8_t fall;
  uint8_t counter;
  uint8_t reserv[14];
} adv_data_s;

#pragma pack(pop)
```

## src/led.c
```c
/** \file led.c
*   \author   Alex  
*   \date 1.11.2022
*/

#include "led.h"

#include <zephyr/device.h>
#include <zephyr/drivers/gpio.h>
#include <zephyr/kernel.h>

#define LED0_NODE DT_ALIAS(led0)
const struct gpio_dt_spec led = GPIO_DT_SPEC_GET(LED0_NODE, gpios);

struct k_timer led_timer; //亦殪屦

k_timeout_t led_period = { 0 };

void led_timer_exp(struct k_timer *timer_id) {
  k_timer_stop( &led_timer );
  gpio_pin_set_dt( &led, 0 );
}

bool init_led(void) {
  int err;

  if (!device_is_ready(led.port)) {
    printk("Led port init failed\n");
    return false;
  }

  err = gpio_pin_configure_dt( &led, GPIO_OUTPUT_ACTIVE );
  if (err < 0) {
    printk("Led pin init failed (err %d)\n", err);
    return false;
  }

  gpio_pin_set_dt( &led, 0 );

  led_period = K_MSEC(100);
  
  k_timer_init( &led_timer, led_timer_exp, NULL );
  k_timer_start( &led_timer, led_period, K_MSEC( 0 )) ;  
  
  return true;
}

void led_blinck( int period_ms ) {
  gpio_pin_set_dt( &led, 1 );
  k_timer_start( &led_timer, K_MSEC( period_ms ), K_MSEC( 0 ) ) ;  
}
```

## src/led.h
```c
/** \file led.h
*   \author   Alex  
*   \date 1.11.2022
*/

#pragma once

#include <stdbool.h>

#include <zephyr/drivers/gpio.h>

extern const struct gpio_dt_spec led;

bool init_led(void);

void led_blinck( int period_ms );
```

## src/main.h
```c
#pragma once

#include "diwo_label.h"

#include <stdbool.h>

#include "power.h"

#define __DEBUG__ 1
#define __ENABLE_SELF_TEST_MESS__ 1

#if (__DEBUG__ != 1)
#define ACC_SHOCK_THRESHOLD 60 // мС^2
#define ACC_SHOCK_DURATION 3

#define ACC_FREEFALL_THRESHOLD 7 //ff_thrs_7           // Порог события free-fall ( 0 - 7 )
#define ACC_FREFALL_DURATION 2

#define BLE_TX_POWER 0

#define __ENABLE_WDT__ 1
#define __SEGGER_FORMAT 1
#define ODR_VALUE 25
#define DEFAULT_ADV_PERIOD_S 3 // Период отсылки рекламы по умолчанию
#define ACC_FULL_SCALE 20      // мС^2
#else

#warning Debug. Change before release

#define ACC_SHOCK_THRESHOLD 40 // мС^2
#define ACC_SHOCK_DURATION 3

#define ACC_FREEFALL_THRESHOLD 2 //ff_thrs_7           // Порог события free-fall ( 0 - 7 )
#define ACC_FREFALL_DURATION 2

#define BLE_TX_POWER 0

#define __ENABLE_LED__  1
#define __ENABLE_BUTTON__ 1
#define __ENABLE_ACC__  1
#define __ENABLE_BLE__ 1
#define __ENABLE_WDT__ 1
#define __ENABLE_NFC__  1
#define __ENABLE_DEEP_SLEEP__ 1
#define __SEGGER_FORMAT 0
#define ODR_VALUE 100
#define DEFAULT_ADV_PERIOD_S 1 // Период отсылки рекламы по умолчанию
#define ACC_FULL_SCALE 20      // мС^2
#endif

#define LOG_ADV_DBG_ENABLE      0

#if( LOG_ADV_DBG_ENABLE != 0 )
#define LOG_ADV_DBG           LOG_DBG
#else#define LOG_ADV_DBG( ... )#endif

#if ( __DEBUG__ != 0 )
#define DEFAULT_PASSWORD   { 1, 2, 3, 4, 5, 6, 7, 8 }
#else
#define DEFAULT_PASSWORD   { 28,32,52,95,16,81,31,30 }
#endif

#ifndef APP_PASSWORD
#warning Use default password
#define APP_PASSWORD      DEFAULT_PASSWORD  
#endif

#if (__DEBUG__ != 0)
#define WAITE_CONNECTION_TIME 10
#define WAITE_DISCONNECTION_TIME 1200
#else
#define WAITE_CONNECTION_TIME 10
#define WAITE_DISCONNECTION_TIME 120
#endif

#ifndef ADV_PERIOD_MIN
#define ADV_PERIOD_MIN       1
#endif
#ifndef ADV_PERIOD_MAX
#define ADV_PERIOD_MAX       5
#endif

#ifndef POWER_MIN
#define POWER_MIN             txp4p
#endif

#ifndef POWER_MAX
#define POWER_MAX             txp40m
#endif

#ifndef HIT_THRESHOLD_MIN
#define HIT_THRESHOLD_MIN     0
#endif

#ifndef HIT_THRESHOLD_MAX
#define HIT_THRESHOLD_MAX     16
#endif

#ifndef FALL_THRESHOLD_MIN
#define FALL_THRESHOLD_MIN    0
#endif

#ifndef FALL_THRESHOLD_MAX
#define FALL_THRESHOLD_MAX    16
#endif

#define KEY_EVENT_MIN ( 32768 * 0.5 )
#define KEY_EVENT_MAX ( 32768 * 1.5 )

typedef struct {
  int8_t adv_period;
  int8_t adv_period_min;  
  int8_t adv_period_max;

  int8_t power;
  int8_t power_min;
  int8_t power_max;
  
  int8_t hit_threshold;
  int8_t hit_threshold_min;
  int8_t hit_threshold_max;
  
  int8_t fall_threshold;
  int8_t fall_threshold_min;
  int8_t fall_threshold_max;  

  uint8_t pass[8];
  bool open;
  bool acc_status;
} app_settings_s;

/** События приложения */
typedef enum {
  evNone = 0,
  evTimer,
  evIrqHi,
  evIrqLo,
  evButton,
  evButtonOnEnd,
  evCmdPowerOff,
} events_e;

typedef enum {
//  scmNone = 0,
//  scmPeriodSet = 1,
//  scmPowerSet = 2,
//  scmHitThreshold = 4,
//  scmFallThreshold = 8,  
  scmPowerOff = 0x95,
} settings_cmd_e;

extern app_settings_s app_settings;

int send_event(events_e event);
```
